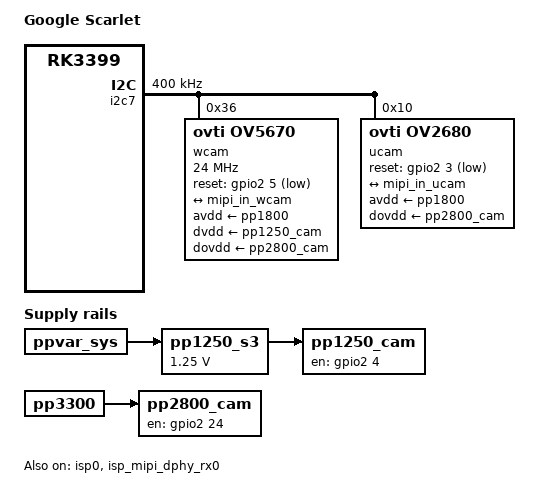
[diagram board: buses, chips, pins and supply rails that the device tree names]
/*
 * Google Gru-Scarlet Rev1+ board device tree source
 *
 * Copyright 2017 Google, Inc
 *
 * This file is dual-licensed: you can use it either under the terms
 * of the GPL or the X11 license, at your option. Note that this dual
 * licensing only applies to this file, and not this project as a
 * whole.
 *
 *  a) This file is free software; you can redistribute it and/or
 *     modify it under the terms of the GNU General Public License as
 *     published by the Free Software Foundation; either version 2 of the
 *     License, or (at your option) any later version.
 *
 *     This file is distributed in the hope that it will be useful,
 *     but WITHOUT ANY WARRANTY; without even the implied warranty of
 *     MERCHANTABILITY or FITNESS FOR A PARTICULAR PURPOSE.  See the
 *     GNU General Public License for more details.
 *
 *  Or, alternatively,
 *
 *  b) Permission is hereby granted, free of charge, to any person
 *     obtaining a copy of this software and associated documentation
 *     files (the "Software"), to deal in the Software without
 *     restriction, including without limitation the rights to use,
 *     copy, modify, merge, publish, distribute, sublicense, and/or
 *     sell copies of the Software, and to permit persons to whom the
 *     Software is furnished to do so, subject to the following
 *     conditions:
 *
 *     The above copyright notice and this permission notice shall be
 *     included in all copies or substantial portions of the Software.
 *
 *     THE SOFTWARE IS PROVIDED "AS IS", WITHOUT WARRANTY OF ANY KIND,
 *     EXPRESS OR IMPLIED, INCLUDING BUT NOT LIMITED TO THE WARRANTIES
 *     OF MERCHANTABILITY, FITNESS FOR A PARTICULAR PURPOSE AND
 *     NONINFRINGEMENT. IN NO EVENT SHALL THE AUTHORS OR COPYRIGHT
 *     HOLDERS BE LIABLE FOR ANY CLAIM, DAMAGES OR OTHER LIABILITY,
 *     WHETHER IN AN ACTION OF CONTRACT, TORT OR OTHERWISE, ARISING
 *     FROM, OUT OF OR IN CONNECTION WITH THE SOFTWARE OR THE USE OR
 *     OTHER DEALINGS IN THE SOFTWARE.
 */

/dts-v1/;

#include "rk3399-gru-scarlet.dtsi"

/ {
	model = "Google Scarlet";
	compatible = "google,scarlet-rev1", "google,scarlet",
		     "google,gru", "rockchip,rk3399";

	pp1250_s3: pp1250-s3 {
		compatible = "regulator-fixed";
		regulator-name = "pp1250_s3";

		/* EC turns on w/ PP1250_S3_EN; TODO:always on for AP? */
		regulator-always-on;
		regulator-boot-on;

		regulator-min-microvolt = <1250000>;
		regulator-max-microvolt = <1250000>;

		vin-supply = <&ppvar_sys>;
	};

	pp1250_cam: pp1250-dvdd {
		compatible = "regulator-fixed";
		regulator-name = "pp1250_dvdd";
		pinctrl-names = "default";
		pinctrl-0 = <&pp1250_cam_en>;

		regulator-always-on; //TODO: for debug
		regulator-boot-on;

		enable-active-high;
		gpio = <&gpio2 4 GPIO_ACTIVE_HIGH>;

		startup-delay-us = <200>; //TODO: check delay
		vin-supply = <&pp1250_s3>;
	};

	pp2800_cam: pp2800-avdd {
		compatible = "regulator-fixed";
		regulator-name = "pp2800_avdd";
		pinctrl-names = "default";
		pinctrl-0 = <&pp2800_cam_en>;

		regulator-always-on; //TODO: for debug
		regulator-boot-on;

		enable-active-high;
		gpio = <&gpio2 24 GPIO_ACTIVE_HIGH>;

		startup-delay-us = <200>; //TODO: check delay
		vin-supply = <&pp3300>;
	};
};

&i2c7 {
	status = "okay";

	clock-frequency = <400000>;

	/* These are relatively safe rise/fall times; TODO: measure */
	i2c-scl-falling-time-ns = <50>;
	i2c-scl-rising-time-ns = <300>;

	wcam: ov5670@36 {
		compatible = "ovti,ov5670";
		reg = <0x36>;
		pinctrl-names = "default";
		pinctrl-0 = <&clk_24m_cam &wcam_rst>;

		clock-frequency = <24000000>;
		clocks = <&cru SCLK_TESTCLKOUT1>;
		clock-names = "xclk";

		avdd-supply = <&pp1800>;
		dvdd-supply = <&pp1250_cam>;
		dovdd-supply = <&pp2800_cam>;
		reset-gpios = <&gpio2 5 GPIO_ACTIVE_LOW>;

		port {
			wcam_out: endpoint {
				remote-endpoint = <&mipi_in_wcam>;
				data-lanes = <1 2>;
			};
		};
	};

	ucam: ov2680@10 {
		compatible = "ovti,ov2680";
		reg = <0x10>;
		pinctrl-names = "default";
		/* There is not pwdn pin from ov2680 datasheet, but
		 * ucam_pwdn is required by ucam module.
		 */
		pinctrl-0 = <&clk_24m_cam &ucam_rst &ucam_pwdn>;

		clocks = <&cru SCLK_TESTCLKOUT1>;
		clock-names = "xclk";

		avdd-supply = <&pp1800>;
		dovdd-supply = <&pp2800_cam>;
		reset-gpios = <&gpio2 3 GPIO_ACTIVE_LOW>;

		port {
			ucam_out: endpoint {
				remote-endpoint = <&mipi_in_ucam>;
				data-lanes = <1>;
			};
		};
	};
};

&isp0 {
	status = "okay";
};

&isp0_mmu {
	status = "okay";
};

&isp_mipi_dphy_rx0 {
	status = "okay";

	port {
		#address-cells = <1>;
		#size-cells = <0>;

		mipi_in_wcam: endpoint@0 {
			reg = <0>;
			remote-endpoint = <&wcam_out>;
			data-lanes = <1 2>;
		};

		mipi_in_ucam: endpoint@1 {
			reg = <1>;
			remote-endpoint = <&ucam_out>;
			data-lanes = <1>;
		};
	};
};

/* PINCTRL: always below everything else */
&pinctrl {
	camera {
		clk_24m_cam: clk-24m-cam {
			rockchip,pins = <RK_GPIO2 25 RK_FUNC_2 &pcfg_pull_none>;
		};
		pp1250_cam_en: pp1250-dvdd {
			rockchip,pins = <RK_GPIO2 4 RK_FUNC_GPIO
					 &pcfg_pull_down>;
		};
		pp2800_cam_en: pp2800-avdd {
			rockchip,pins = <RK_GPIO2 24 RK_FUNC_GPIO
					 &pcfg_pull_down>;
		};
		ucam_pwdn: ucam_pwdn {
			rockchip,pins = <RK_GPIO4 5 RK_FUNC_GPIO
					 &pcfg_pull_up>;
		};
		ucam_rst: ucam_rst {
			rockchip,pins = <RK_GPIO2 3 RK_FUNC_GPIO
					 &pcfg_pull_down>;
		};
		wcam_rst: wcam_rst {
			rockchip,pins = <RK_GPIO2 5 RK_FUNC_GPIO
					 &pcfg_pull_down>;
		};
	};
};
